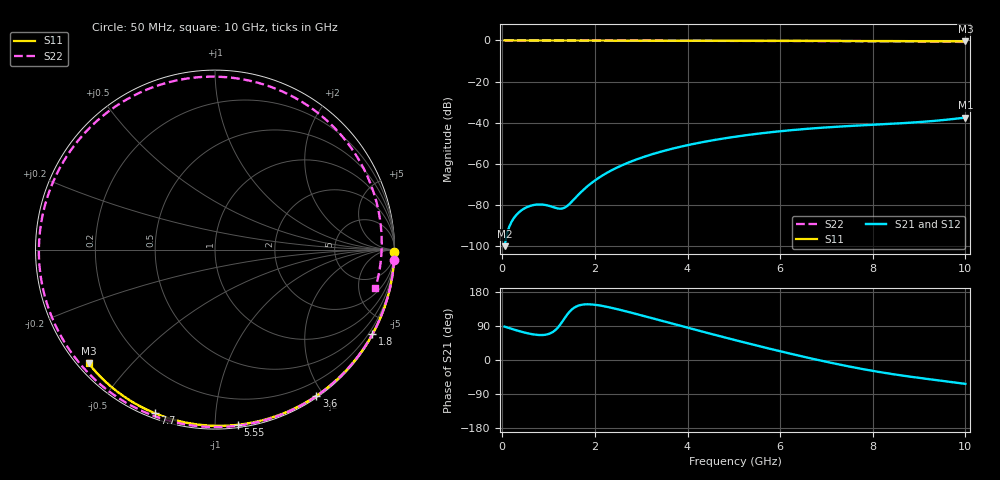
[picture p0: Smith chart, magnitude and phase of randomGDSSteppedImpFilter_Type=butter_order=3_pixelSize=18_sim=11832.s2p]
! freq	dB(S11)	phase(S11)	dB(S12)	phase(S12)
!  dB(S21)	phase(S21)	dB(S22)	phase(S22)
!S-par simulation data
#  GHz  S  DB  R 50
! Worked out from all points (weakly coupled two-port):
!   200 points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, 50 MHz to 10 GHz, reference 50 ohm
!   highest |S21| = -37.51 dB at 10 GHz (marker M1); lowest = -100.0 dB at 50 MHz (marker M2)
!   lowest |S11| = -0.5 dB at 10 GHz (marker M3), VSWR 36.92, Z = 1.55 - j19.2 ohm
!   |S11| at or under -10 dB: nowhere
!   |S22| runs from -0.7 to 0.0 dB; largest |S21 - S12| = 0
!   S11 on the Smith chart (normalised r, x): 50 MHz: open; 1.8 GHz: 0.03, -3.97; 3.6 GHz: 0.02, -1.91; 5.55 GHz: 0.02, -1.14; 7.7 GHz: 0.02, -0.70; 10 GHz: 0.03, -0.38
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0.05  -0.00 -0.8  -100.00 88.0  -100.00 88.0  -0.00 -3.2
0.4  -0.01 -6.4  -82.79 75.0  -82.79 75.0  -0.03 -25.0
0.75  -0.01 -11.9  -79.77 66.3  -79.77 66.3  -0.06 -46.0
1.05  -0.02 -16.6  -80.65 71.1  -80.65 71.1  -0.08 -62.9
1.4  -0.03 -22.1  -80.49 119.8  -80.49 119.8  -0.09 -81.1
1.75  -0.04 -27.5  -72.64 146.4  -72.64 146.4  -0.10 -97.7
1.8  -0.04 -28.3  -71.63 146.9  -71.63 146.9  -0.11 -100.0
2.1  -0.04 -32.9  -66.52 144.0  -66.52 144.0  -0.11 -112.8
2.45  -0.05 -38.2  -62.10 135.1  -62.10 135.1  -0.12 -126.6
2.9  -0.06 -45.0  -57.83 121.2  -57.83 121.2  -0.13 -142.7
3.4  -0.07 -52.4  -54.22 104.9  -54.22 104.9  -0.14 -159.0
3.6  -0.07 -55.3  -53.02 98.3  -53.02 98.3  -0.15 -165.1
4.3  -0.09 -65.3  -49.53 75.6  -49.53 75.6  -0.17 174.4
5.05  -0.12 -75.7  -46.72 51.8  -46.72 51.8  -0.20 153.5
5.55  -0.14 -82.5  -45.24 36.5  -45.24 36.5  -0.22 139.6
6.7  -0.19 -97.5  -42.74 3.2  -42.74 3.2  -0.29 106.8
7.2  -0.22 -103.8  -41.97 -10.0  -41.97 -10.0  -0.32 91.5
7.7  -0.25 -110.1  -41.33 -22.1  -41.33 -22.1  -0.36 75.4
8.35  -0.30 -118.1  -40.57 -35.8  -40.57 -35.8  -0.42 53.0
9.25  -0.39 -129.0  -39.24 -51.1  -39.24 -51.1  -0.55 18.6
9.65  -0.43 -133.8  -38.40 -57.3  -38.40 -57.3  -0.63 1.9
10  -0.47 -138.0  -37.51 -63.0  -37.51 -63.0  -0.73 -13.5
